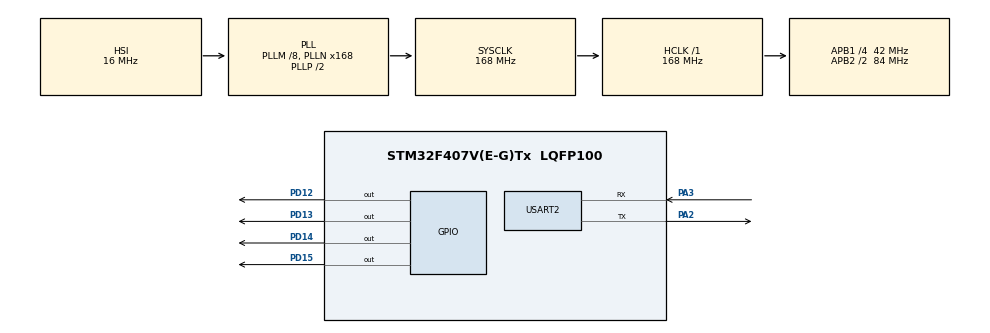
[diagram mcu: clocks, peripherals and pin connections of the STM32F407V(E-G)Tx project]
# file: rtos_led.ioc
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FREERTOS.INCLUDE_vTaskDelayUntil=1
FREERTOS.Tasks01=defaultTask,-3,128,StartDefaultTask,Default,NULL,Dynamic,NULL,NULL
FREERTOS.configUSE_NEWLIB_REENTRANT=1
Mcu.Family=STM32F4
Mcu.Name=STM32F407V(E-G)Tx
Mcu.Package=LQFP100
NVIC.PriorityGroup=NVIC_PRIORITYGROUP_4
NVIC.TIM1_UP_TIM10_IRQn=true\:15\:0\:false\:false\:true\:false\:false\:true\:true
NVIC.TimeBase=TIM1_UP_TIM10_IRQn
NVIC.TimeBaseIP=TIM1
PA2.Mode=Asynchronous
PA2.Signal=USART2_TX
PA3.Mode=Asynchronous
PA3.Signal=USART2_RX
PD12.Signal=GPIO_Output
PD13.Signal=GPIO_Output
PD14.Signal=GPIO_Output
PD15.Signal=GPIO_Output
ProjectManager.HeapSize=0x200
ProjectManager.StackSize=0x400
ProjectManager.TargetToolchain=STM32CubeIDE
RCC.48MHZClocksFreq_Value=48000000
RCC.AHBFreq_Value=168000000
RCC.APB1CLKDivider=RCC_HCLK_DIV4
RCC.APB1Freq_Value=42000000
RCC.APB1TimFreq_Value=84000000
RCC.APB2CLKDivider=RCC_HCLK_DIV2
RCC.APB2Freq_Value=84000000
RCC.APB2TimFreq_Value=168000000
RCC.CortexFreq_Value=168000000
RCC.HCLKFreq_Value=168000000
RCC.HSE_VALUE=8000000
RCC.HSI_VALUE=16000000
RCC.LSE_VALUE=32768
RCC.PLLM=8
RCC.PLLN=168
RCC.PLLQ=7
RCC.SYSCLKFreq_VALUE=168000000
RCC.SYSCLKSource=RCC_SYSCLKSOURCE_PLLCLK
RCC.VCOOutputFreq_Value=336000000
USART2.VirtualMode=VM_ASYNC
VP_FREERTOS_VS_CMSIS_V1.Mode=CMSIS_V1
VP_SYS_VS_tim1.Mode=TIM1
board=STM32F407G-DISC1

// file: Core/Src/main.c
/* USER CODE BEGIN Header */
/**
  ******************************************************************************
  * @file           : main.c
  * @brief          : Main program body
  ******************************************************************************
  * @attention
  *
  * Copyright (c) 2025 STMicroelectronics.
  * All rights reserved.
  *
  * This software is licensed under terms that can be found in the LICENSE file
  * in the root directory of this software component.
  * If no LICENSE file comes with this software, it is provided AS-IS.
  *
  ******************************************************************************
  */
/* USER CODE END Header */
#include "main.h"
#include "cmsis_os.h"

/* USER CODE BEGIN Includes */
#include "string.h"
/* USER CODE END Includes */

UART_HandleTypeDef huart2;

osThreadId defaultTaskHandle;
/* USER CODE BEGIN PV */
xQueueHandle xQueue;
/* USER CODE END PV */

void SystemClock_Config(void);
static void MX_GPIO_Init(void);
static void MX_USART2_UART_Init(void);
void StartDefaultTask(void const * argument);

/* USER CODE BEGIN 0 */
void vContinuousUARTTask(void *pvParam)
{
//	char *pcMessage = (char *)pvParam;
	char rxBuffer[16];
	while(1)
	{
	if(xQueueReceive(xQueue, rxBuffer, portMAX_DELAY) == pdPASS)
	{
		HAL_UART_Transmit(&huart2, (uint8_t *)rxBuffer, strlen(rxBuffer), HAL_MAX_DELAY);

	}
	};

	vTaskDelete(NULL);
}
void vContigousTask(void *pvParam)
{
	uint32_t pin = (uint32_t)pvParam;
	while(1)
	{
		HAL_GPIO_TogglePin(GPIOD, pin);
		vTaskDelay(2000 / portTICK_RATE_MS);
	}
	vTaskDelete(NULL);
}
void vPeriodicTask(void *pvParam)
{
	uint32_t pin = (uint32_t)pvParam;
	portTickType xTaskLastWakeup = xTaskGetTickCount();
	char *message = "LED 3 Toggled \r\n";
	while(1)
	{
	HAL_GPIO_TogglePin(GPIOD, pin);
	xQueueSendToBack(xQueue, message, portMAX_DELAY);
	vTaskDelayUntil(&xTaskLastWakeup, 1000 / portTICK_RATE_MS);
	};

	vTaskDelete(NULL);
}

/* USER CODE END 0 */

int main(void)
{

  /* USER CODE BEGIN 1 */
	char *pcMessage = "This is UART Demo\r\n";
  /* USER CODE END 1 */

  /* MCU Configuration--------------------------------------------------------*/

  /* Reset of all peripherals, Initializes the Flash interface and the Systick. */
  HAL_Init();

  /* Configure the system clock */
  SystemClock_Config();

  /* Initialize all configured peripherals */
  MX_GPIO_Init();
  MX_USART2_UART_Init();
  /* USER CODE BEGIN 2 */
  HAL_UART_Transmit(&huart2, (uint8_t *)pcMessage, strlen(pcMessage)+1, HAL_MAX_DELAY);
  /* USER CODE END 2 */

  /* USER CODE BEGIN RTOS_QUEUES */
  /* add queues, ... */
  xQueue = xQueueCreate(5, 16);
  /* USER CODE END RTOS_QUEUES */

  /* Create the thread(s) */
  /* definition and creation of defaultTask */
  osThreadDef(defaultTask, StartDefaultTask, osPriorityIdle, 0, 128);
  defaultTaskHandle = osThreadCreate(osThread(defaultTask), NULL);

  /* USER CODE BEGIN RTOS_THREADS */
  /* add threads, ... */
//  xTaskCreate(vContigousTask, "Task1", configMINIMAL_STACK_SIZE, (void *)GPIO_PIN_12, 5, NULL);
 // xTaskCreate(vContigousTask, "Task2", configMINIMAL_STACK_SIZE, (void *)GPIO_PIN_13, 6, NULL);
  xTaskCreate(vPeriodicTask, "Task3", configMINIMAL_STACK_SIZE, (void *)GPIO_PIN_14, 5, NULL);
  //xTaskCreate(vPeriodicTask, "Task4", configMINIMAL_STACK_SIZE, (void *)GPIO_PIN_15, 6, NULL);
  xTaskCreate(vContinuousUARTTask, "UART", configMINIMAL_STACK_SIZE, (void *)"Task1\r\n", 7, NULL);
  /* USER CODE END RTOS_THREADS */

  /* Start scheduler */
  osKernelStart();

  /* We should never get here as control is now taken by the scheduler */

  /* Infinite loop */
  while (1)
  {

  }
}

void SystemClock_Config(void)
{
  RCC_OscInitTypeDef RCC_OscInitStruct = {0};
  RCC_ClkInitTypeDef RCC_ClkInitStruct = {0};

  /** Configure the main internal regulator output voltage
  */
  __HAL_RCC_PWR_CLK_ENABLE();
  __HAL_PWR_VOLTAGESCALING_CONFIG(PWR_REGULATOR_VOLTAGE_SCALE1);

  /** Initializes the RCC Oscillators according to the specified parameters
  * in the RCC_OscInitTypeDef structure.
  */
  RCC_OscInitStruct.OscillatorType = RCC_OSCILLATORTYPE_HSI;
  RCC_OscInitStruct.HSIState = RCC_HSI_ON;
  RCC_OscInitStruct.HSICalibrationValue = RCC_HSICALIBRATION_DEFAULT;
  RCC_OscInitStruct.PLL.PLLState = RCC_PLL_ON;
  RCC_OscInitStruct.PLL.PLLSource = RCC_PLLSOURCE_HSI;
  RCC_OscInitStruct.PLL.PLLM = 8;
  RCC_OscInitStruct.PLL.PLLN = 168;
  RCC_OscInitStruct.PLL.PLLP = RCC_PLLP_DIV2;
  RCC_OscInitStruct.PLL.PLLQ = 7;
  if (HAL_RCC_OscConfig(&RCC_OscInitStruct) != HAL_OK)
  {
    Error_Handler();
  }

  /** Initializes the CPU, AHB and APB buses clocks
  */
  RCC_ClkInitStruct.ClockType = RCC_CLOCKTYPE_HCLK|RCC_CLOCKTYPE_SYSCLK
                              |RCC_CLOCKTYPE_PCLK1|RCC_CLOCKTYPE_PCLK2;
  RCC_ClkInitStruct.SYSCLKSource = RCC_SYSCLKSOURCE_PLLCLK;
  RCC_ClkInitStruct.AHBCLKDivider = RCC_SYSCLK_DIV1;
  RCC_ClkInitStruct.APB1CLKDivider = RCC_HCLK_DIV4;
  RCC_ClkInitStruct.APB2CLKDivider = RCC_HCLK_DIV2;

  if (HAL_RCC_ClockConfig(&RCC_ClkInitStruct, FLASH_LATENCY_5) != HAL_OK)
  {
    Error_Handler();
  }
}

static void MX_USART2_UART_Init(void)
{

  huart2.Instance = USART2;
  huart2.Init.BaudRate = 115200;
  huart2.Init.WordLength = UART_WORDLENGTH_8B;
  huart2.Init.StopBits = UART_STOPBITS_1;
  huart2.Init.Parity = UART_PARITY_NONE;
  huart2.Init.Mode = UART_MODE_TX_RX;
  huart2.Init.HwFlowCtl = UART_HWCONTROL_NONE;
  huart2.Init.OverSampling = UART_OVERSAMPLING_16;
  if (HAL_UART_Init(&huart2) != HAL_OK)
  {
    Error_Handler();
  }

}

static void MX_GPIO_Init(void)
{
  GPIO_InitTypeDef GPIO_InitStruct = {0};

  /* GPIO Ports Clock Enable */
  __HAL_RCC_GPIOA_CLK_ENABLE();
  __HAL_RCC_GPIOD_CLK_ENABLE();

  /*Configure GPIO pin Output Level */
  HAL_GPIO_WritePin(GPIOD, GPIO_PIN_12|GPIO_PIN_13|GPIO_PIN_14|GPIO_PIN_15, GPIO_PIN_RESET);

  /*Configure GPIO pins : PD12 PD13 PD14 PD15 */
  GPIO_InitStruct.Pin = GPIO_PIN_12|GPIO_PIN_13|GPIO_PIN_14|GPIO_PIN_15;
  GPIO_InitStruct.Mode = GPIO_MODE_OUTPUT_PP;
  GPIO_InitStruct.Pull = GPIO_NOPULL;
  GPIO_InitStruct.Speed = GPIO_SPEED_FREQ_LOW;
  HAL_GPIO_Init(GPIOD, &GPIO_InitStruct);

}

void StartDefaultTask(void const * argument)
{
  for(;;)
  {
    osDelay(1);
  }
}

void HAL_TIM_PeriodElapsedCallback(TIM_HandleTypeDef *htim)
{
  if (htim->Instance == TIM1)
  {
    HAL_IncTick();
  }
}

void Error_Handler(void)
{
  __disable_irq();
  while (1)
  {
  }
}
